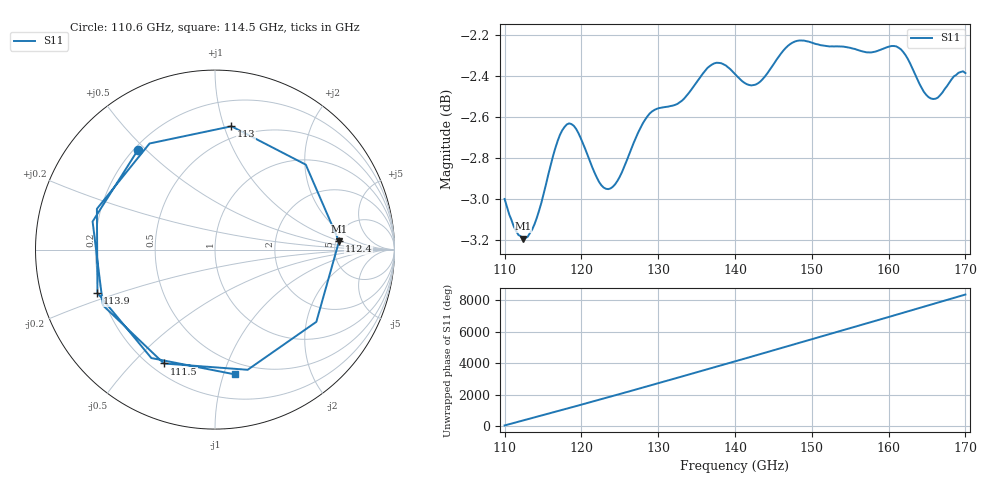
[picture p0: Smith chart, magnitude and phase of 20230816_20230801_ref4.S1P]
! C:\Users\Solidworker\Documents\VNA\mmiller\20230816\20230816_20230801_ref4.S1P
! Touchstone 1.1 file saved by VNA.EXE V1.65 (www.ke5fx.com/gpib/readme.htm)
! 8/16/2023 3:02:28 PM
!  Source: HP8510C.07.10: Mar 30  1995
!  Min freq: 1.100000E+011 Hz
!  Max freq: 1.700000E+011 Hz
!  Points: 201
!  Params: S11
# GHZ S MA R 50
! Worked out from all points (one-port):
!   201 points, 110 GHz to 170 GHz, reference 50 ohm
!   lowest |S11| = -3.2 dB at 112.4 GHz (marker M1), VSWR 5.50, Z = 267 + j47.1 ohm
!   |S11| at or under -10 dB: nowhere
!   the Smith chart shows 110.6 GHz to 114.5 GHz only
!   S11 on the Smith chart (normalised r, x): 110.6 GHz: 0.22, +0.47; 111.5 GHz: 0.25, -0.62; 112.4 GHz: 5.33, +0.94; 113 GHz: 0.40, +1.06; 113.9 GHz: 0.18, -0.17; 114.5 GHz: 0.40, -1.09
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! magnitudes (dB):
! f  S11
! 110 GHz  -3.0
! 110.6 GHz  -3.1
! 111.5 GHz  -3.2
! 112.4 GHz  -3.2
! 113 GHz  -3.2
! 113.9 GHz  -3.1
! 114.5 GHz  -3.1
! 116.6 GHz  -2.8
! 117.5 GHz  -2.7
! 118.4 GHz  -2.6
! 119.3 GHz  -2.7
! 122.9 GHz  -2.9
! 123.8 GHz  -2.9
! 125 GHz  -2.9
! 128.6 GHz  -2.6
! 132.5 GHz  -2.5
! 137 GHz  -2.3
! 140 GHz  -2.4
! 142.7 GHz  -2.4
! 147.5 GHz  -2.2
! 155 GHz  -2.3
! 161 GHz  -2.3
! 162.5 GHz  -2.3
! 164.6 GHz  -2.5
! 165.5 GHz  -2.5
! 166.4 GHz  -2.5
! 169.1 GHz  -2.4
! 170 GHz  -2.4
